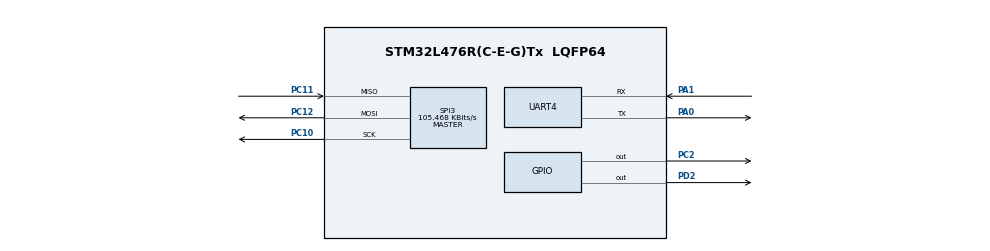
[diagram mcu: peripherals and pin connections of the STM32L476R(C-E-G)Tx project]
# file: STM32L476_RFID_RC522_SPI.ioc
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Mcu.Family=STM32L4
Mcu.Name=STM32L476R(C-E-G)Tx
Mcu.Package=LQFP64
NVIC.PriorityGroup=NVIC_PRIORITYGROUP_4
PA0.Mode=Asynchronous
PA0.Signal=UART4_TX
PA1.Mode=Asynchronous
PA1.Signal=UART4_RX
PC10.Mode=Full_Duplex_Master
PC10.Signal=SPI3_SCK
PC11.Mode=Full_Duplex_Master
PC11.Signal=SPI3_MISO
PC12.Mode=Full_Duplex_Master
PC12.Signal=SPI3_MOSI
PC14-OSC32_IN\ (PC14).Mode=LSE-External-Oscillator
PC14-OSC32_IN\ (PC14).Signal=RCC_OSC32_IN
PC15-OSC32_OUT\ (PC15).Mode=LSE-External-Oscillator
PC15-OSC32_OUT\ (PC15).Signal=RCC_OSC32_OUT
PC2.GPIO_Speed=GPIO_SPEED_FREQ_VERY_HIGH
PC2.PinState=GPIO_PIN_RESET
PC2.Signal=GPIO_Output
PD2.GPIO_Speed=GPIO_SPEED_FREQ_VERY_HIGH
PD2.PinState=GPIO_PIN_SET
PD2.Signal=GPIO_Output
ProjectManager.HeapSize=0x200
ProjectManager.StackSize=0x400
ProjectManager.TargetToolchain=MDK-ARM V5.32
RCC.ADCFreq_Value=32000000
RCC.AHBCLKDivider=RCC_SYSCLK_DIV2
RCC.AHBFreq_Value=27000000
RCC.APB1Freq_Value=27000000
RCC.APB1TimFreq_Value=27000000
RCC.APB2Freq_Value=27000000
RCC.APB2TimFreq_Value=27000000
RCC.CortexFreq_Value=27000000
RCC.HCLKFreq_Value=27000000
RCC.HSE_VALUE=8000000
RCC.HSI_VALUE=16000000
RCC.MSI_VALUE=4000000
RCC.PLLM=2
RCC.PLLN=27
RCC.PLLR=RCC_PLLR_DIV4
RCC.PLLSourceVirtual=RCC_PLLSOURCE_HSI
RCC.PREFETCH_ENABLE=1
RCC.SYSCLKFreq_VALUE=54000000
RCC.SYSCLKSource=RCC_SYSCLKSOURCE_PLLCLK
RCC.USBFreq_Value=32000000
RCC.VCOOutputFreq_Value=216000000
SPI3.BaudRatePrescaler=SPI_BAUDRATEPRESCALER_256
SPI3.CLKPhase=SPI_PHASE_1EDGE
SPI3.CLKPolarity=SPI_POLARITY_LOW
SPI3.CalculateBaudRate=105.468 KBits/s
SPI3.DataSize=SPI_DATASIZE_8BIT
SPI3.Direction=SPI_DIRECTION_2LINES
SPI3.Mode=SPI_MODE_MASTER
SPI3.VirtualType=VM_MASTER
board=NUCLEO-L476RG

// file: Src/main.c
/* USER CODE BEGIN Header */
/**
  ******************************************************************************
  * @file           : main.c
  * @brief          : Main program body
  ******************************************************************************
  * @attention
  *
  * Copyright (c) 2024 STMicroelectronics.
  * All rights reserved.
  *
  * This software is licensed under terms that can be found in the LICENSE file
  * in the root directory of this software component.
  * If no LICENSE file comes with this software, it is provided AS-IS.
  *
  ******************************************************************************
  */
/* USER CODE END Header */
#include "main.h"

/* USER CODE BEGIN Includes */
#include <stdio.h>
#include <string.h>
#include <stdarg.h>
#include "rc522.h"
/* USER CODE END Includes */

/* USER CODE BEGIN PV */
uint8_t status;
uint8_t str[MAX_LEN]; // Max_LEN = 16
uint8_t sNum[4];
uint8_t rx_data1, rx_data2, rx_data3, rx_data4, rx_data5;
uint8_t card;

uchar defaultKey[6] = {0xFF, 0xFF, 0xFF, 0xFF, 0xFF, 0xFF};
//uchar defaultKey[6] = {0xA1, 0xA2, 0xA3, 0xA4, 0xA5, 0xA6};
//uchar defaultKey[6] = {0xB1, 0xB2, 0xB3, 0xB4, 0xB5, 0xB6};
/*
uchar defaultKeys[7][6] = {
    {0xFF, 0xFF, 0xFF, 0xFF, 0xFF, 0xFF},
    {0xA0, 0xA1, 0xA2, 0xA3, 0xA4, 0xA5},
    {0xB0, 0xB1, 0xB2, 0xB3, 0xB4, 0xB5},
    {0x4D, 0x3A, 0x99, 0xC3, 0x51, 0xDD},
    {0x1A, 0x98, 0x2C, 0x7E, 0x45, 0x9A},
    {0xD3, 0xF7, 0xD3, 0xF7, 0xD3, 0xF7},
    {0xAA, 0xBB, 0xCC, 0xDD, 0xEE, 0xFF}
};*/
/*
uchar defaultKeys[14][6] =
{
	{0xFF, 0xFF, 0xFF, 0xFF, 0xFF, 0xFF},
    {0x00, 0x11, 0x22, 0x33, 0x44, 0x55},
    {0x00, 0x01, 0x02, 0x03, 0x04, 0x05},
    {0xA0, 0xA1, 0xA2, 0xA3, 0xA4, 0xA5},
    {0xB0, 0xB1, 0xB2, 0xB3, 0xB4, 0xB5},
    {0xAA, 0xAA, 0xAA, 0xAA, 0xAA, 0xAA},
    {0xBB, 0xBB, 0xBB, 0xBB, 0xBB, 0xBB},
    {0xAA, 0xBB, 0xCC, 0xDD, 0xEE, 0xFF},
    {0XD3, 0XF7, 0XD3, 0XF7, 0XD3, 0XF7},
    {0XB0, 0XB1, 0XB2, 0XB3, 0XB4, 0XB5},
    {0X4D, 0X3A, 0X99, 0XC3, 0X51, 0XDD},
    {0X1A, 0X98, 0X2C, 0X7E, 0X45, 0X9A},
    {0X00, 0X00, 0X00, 0X00, 0X00, 0X00},
    {0XAB, 0XCD, 0XEF, 0X12, 0X34, 0X56}
};*/
uchar dataToWrite1[16] = "59-T1-55555   "; // Chuoi 16 byte
uchar dataToWrite2[16] = "59-T2-66666   "; // Chuoi 16 byte
uchar readBuffer[16];
uchar blockAddr = 8;
/* USER CODE END PV */

void SystemClock_Config(void);
static void MX_GPIO_Init(void);
static void MX_SPI3_Init(void);
static void MX_UART4_Init(void);

int main(void)
{

  /* MCU Configuration--------------------------------------------------------*/

  /* Reset of all peripherals, Initializes the Flash interface and the Systick. */
  LL_APB2_GRP1_EnableClock(LL_APB2_GRP1_PERIPH_SYSCFG);
  LL_APB1_GRP1_EnableClock(LL_APB1_GRP1_PERIPH_PWR);

  /* System interrupt init*/
  NVIC_SetPriorityGrouping(NVIC_PRIORITYGROUP_4);

  /* Configure the system clock */
  SystemClock_Config();

  /* Initialize all configured peripherals */
  MX_GPIO_Init();
  MX_SPI3_Init();
  MX_UART4_Init();
  /* USER CODE BEGIN 2 */
	MFRC522_Init();
  /* USER CODE END 2 */

  /* Infinite loop */
  while (1)
  {
		LL_mDelay(1000);
		status = MFRC522_Request(PICC_REQIDL, str);
		if (status != MI_OK)
		{
			myprintf("MFRC522_Request failed");
      //while(1){}
    }
		LL_mDelay(1);
		status = MFRC522_Anticoll(str);
		if (status != MI_OK)
		{
			myprintf("MFRC522_Anticoll failed");
      //while(1){}
    }
		memcpy(sNum, str, 4);
		myprintf("SerialNumber: ");
    for (int i = 0; i < 4; i++)
		{
      myprintf("%02X ", sNum[i]); // UID
    }
    myprintf("\n");
		LL_mDelay(1);
		/*
		status = MFRC522_SelectTag(sNum);
    if (status != MI_OK)
		{
			myprintf("MFRC522_SelectTag failed");
      while(1){}
		}
		*/
		/*
		for (int attempt = 0; attempt < 3; attempt++)
		{
			status = MFRC522_SelectTag(str);
			if (status == MI_OK)
			{
        myprintf("MFRC522_SelectTag ok\n");
        break;
			}
			else if (attempt == 2)
			{
        myprintf("MFRC522_SelectTag not ok\n");
        //while(1){}
			}
		}
		LL_mDelay(1);
		status = MFRC522_Auth(PICC_AUTHENT1A, blockAddr, defaultKey, sNum);
		if (status == MI_OK)
		{
       myprintf("MFRC522_Auth ok\n");
		}
		else
		{
       myprintf("MFRC522_Auth not ok\n");
       while(1){}
		}

		LL_mDelay(1);
		status = MFRC522_Write(blockAddr, dataToWrite1);
		if (status == MI_OK)
		{
      myprintf("Write data to block %d\n", blockAddr);
    }
		else
		{
			myprintf("Failed to write data\n");
      MFRC522_Halt();
      while(1){}
		}
		LL_mDelay(1000);
		status = MFRC522_Read(blockAddr, readBuffer);
		if (status == MI_OK) {

    myprintf("Data from block %d: ", blockAddr);
    for (int i = 0; i < 16; i++) {
      myprintf("%c", readBuffer[i]);
    }
    myprintf("\n");

    } else {
      myprintf("Failed to read data\n");
			MFRC522_Halt();
      while(1){}
    }
    MFRC522_Halt();
    break;
		*/
		/*
		memcpy(sNum, str, 5);
		LL_mDelay(100);
		if((str[0]==113) && (str[1]==223) && (str[2]==49) && (str[3]==2) && (str[4]==157) )
    {
			card = 1;
			LL_mDelay(100);
    }
    else if((str[0]==115) && (str[1]==233) && (str[2]==59) && (str[3]==218) && (str[4]==123) )
    {
			card = 2;
      LL_mDelay(2000);
    }
    else
    {
      card = 3;
		}
		*/
  }
}

void SystemClock_Config(void)
{
  LL_FLASH_SetLatency(LL_FLASH_LATENCY_1);
  while(LL_FLASH_GetLatency()!= LL_FLASH_LATENCY_1)
  {
  }
  LL_PWR_SetRegulVoltageScaling(LL_PWR_REGU_VOLTAGE_SCALE1);
  while (LL_PWR_IsActiveFlag_VOS() != 0)
  {
  }
  LL_RCC_HSI_Enable();

   /* Wait till HSI is ready */
  while(LL_RCC_HSI_IsReady() != 1)
  {

  }
  LL_RCC_HSI_SetCalibTrimming(16);
  LL_RCC_PLL_ConfigDomain_SYS(LL_RCC_PLLSOURCE_HSI, LL_RCC_PLLM_DIV_2, 27, LL_RCC_PLLR_DIV_4);
  LL_RCC_PLL_EnableDomain_SYS();
  LL_RCC_PLL_Enable();

   /* Wait till PLL is ready */
  while(LL_RCC_PLL_IsReady() != 1)
  {

  }
  LL_RCC_SetSysClkSource(LL_RCC_SYS_CLKSOURCE_PLL);

   /* Wait till System clock is ready */
  while(LL_RCC_GetSysClkSource() != LL_RCC_SYS_CLKSOURCE_STATUS_PLL)
  {

  }
  LL_RCC_SetAHBPrescaler(LL_RCC_SYSCLK_DIV_2);
  LL_RCC_SetAPB1Prescaler(LL_RCC_APB1_DIV_1);
  LL_RCC_SetAPB2Prescaler(LL_RCC_APB2_DIV_1);

  LL_Init1msTick(27000000);

  LL_SetSystemCoreClock(27000000);
}

static void MX_SPI3_Init(void)
{

  LL_SPI_InitTypeDef SPI_InitStruct = {0};

  LL_GPIO_InitTypeDef GPIO_InitStruct = {0};

  /* Peripheral clock enable */
  LL_APB1_GRP1_EnableClock(LL_APB1_GRP1_PERIPH_SPI3);

  LL_AHB2_GRP1_EnableClock(LL_AHB2_GRP1_PERIPH_GPIOC);
  /**SPI3 GPIO Configuration
  PC10   ------> SPI3_SCK
  PC11   ------> SPI3_MISO
  PC12   ------> SPI3_MOSI
  */
  GPIO_InitStruct.Pin = LL_GPIO_PIN_10|LL_GPIO_PIN_11|LL_GPIO_PIN_12;
  GPIO_InitStruct.Mode = LL_GPIO_MODE_ALTERNATE;
  GPIO_InitStruct.Speed = LL_GPIO_SPEED_FREQ_VERY_HIGH;
  GPIO_InitStruct.OutputType = LL_GPIO_OUTPUT_PUSHPULL;
  GPIO_InitStruct.Pull = LL_GPIO_PULL_NO;
  GPIO_InitStruct.Alternate = LL_GPIO_AF_6;
  LL_GPIO_Init(GPIOC, &GPIO_InitStruct);

  /* SPI3 parameter configuration*/
  SPI_InitStruct.TransferDirection = LL_SPI_FULL_DUPLEX;
  SPI_InitStruct.Mode = LL_SPI_MODE_MASTER;
  SPI_InitStruct.DataWidth = LL_SPI_DATAWIDTH_8BIT;
  SPI_InitStruct.ClockPolarity = LL_SPI_POLARITY_LOW;
  SPI_InitStruct.ClockPhase = LL_SPI_PHASE_1EDGE;
  SPI_InitStruct.NSS = LL_SPI_NSS_SOFT;
  SPI_InitStruct.BaudRate = LL_SPI_BAUDRATEPRESCALER_DIV256;
  SPI_InitStruct.BitOrder = LL_SPI_MSB_FIRST;
  SPI_InitStruct.CRCCalculation = LL_SPI_CRCCALCULATION_DISABLE;
  SPI_InitStruct.CRCPoly = 7;
  LL_SPI_Init(SPI3, &SPI_InitStruct);
  LL_SPI_SetStandard(SPI3, LL_SPI_PROTOCOL_MOTOROLA);
  LL_SPI_EnableNSSPulseMgt(SPI3);
  /* USER CODE BEGIN SPI3_Init 2 */
	LL_SPI_Enable(SPI3);
  /* USER CODE END SPI3_Init 2 */

}

static void MX_UART4_Init(void)
{

  LL_USART_InitTypeDef UART_InitStruct = {0};

  LL_GPIO_InitTypeDef GPIO_InitStruct = {0};

  LL_RCC_SetUARTClockSource(LL_RCC_UART4_CLKSOURCE_PCLK1);

  /* Peripheral clock enable */
  LL_APB1_GRP1_EnableClock(LL_APB1_GRP1_PERIPH_UART4);

  LL_AHB2_GRP1_EnableClock(LL_AHB2_GRP1_PERIPH_GPIOA);
  /**UART4 GPIO Configuration
  PA0   ------> UART4_TX
  PA1   ------> UART4_RX
  */
  GPIO_InitStruct.Pin = LL_GPIO_PIN_0|LL_GPIO_PIN_1;
  GPIO_InitStruct.Mode = LL_GPIO_MODE_ALTERNATE;
  GPIO_InitStruct.Speed = LL_GPIO_SPEED_FREQ_VERY_HIGH;
  GPIO_InitStruct.OutputType = LL_GPIO_OUTPUT_PUSHPULL;
  GPIO_InitStruct.Pull = LL_GPIO_PULL_NO;
  GPIO_InitStruct.Alternate = LL_GPIO_AF_8;
  LL_GPIO_Init(GPIOA, &GPIO_InitStruct);

  UART_InitStruct.BaudRate = 115200;
  UART_InitStruct.DataWidth = LL_USART_DATAWIDTH_8B;
  UART_InitStruct.StopBits = LL_USART_STOPBITS_1;
  UART_InitStruct.Parity = LL_USART_PARITY_NONE;
  UART_InitStruct.TransferDirection = LL_USART_DIRECTION_TX_RX;
  UART_InitStruct.HardwareFlowControl = LL_USART_HWCONTROL_NONE;
  UART_InitStruct.OverSampling = LL_USART_OVERSAMPLING_16;
  LL_USART_Init(UART4, &UART_InitStruct);
  LL_USART_ConfigAsyncMode(UART4);
  LL_USART_Enable(UART4);

}

static void MX_GPIO_Init(void)
{
  LL_GPIO_InitTypeDef GPIO_InitStruct = {0};

  /* GPIO Ports Clock Enable */
  LL_AHB2_GRP1_EnableClock(LL_AHB2_GRP1_PERIPH_GPIOC);
  LL_AHB2_GRP1_EnableClock(LL_AHB2_GRP1_PERIPH_GPIOA);
  LL_AHB2_GRP1_EnableClock(LL_AHB2_GRP1_PERIPH_GPIOD);

  /**/
  LL_GPIO_ResetOutputPin(GPIOC, LL_GPIO_PIN_2);

  /**/
  LL_GPIO_SetOutputPin(GPIOD, LL_GPIO_PIN_2);

  /**/
  GPIO_InitStruct.Pin = LL_GPIO_PIN_2;
  GPIO_InitStruct.Mode = LL_GPIO_MODE_OUTPUT;
  GPIO_InitStruct.Speed = LL_GPIO_SPEED_FREQ_VERY_HIGH;
  GPIO_InitStruct.OutputType = LL_GPIO_OUTPUT_PUSHPULL;
  GPIO_InitStruct.Pull = LL_GPIO_PULL_NO;
  LL_GPIO_Init(GPIOC, &GPIO_InitStruct);

  /**/
  GPIO_InitStruct.Pin = LL_GPIO_PIN_2;
  GPIO_InitStruct.Mode = LL_GPIO_MODE_OUTPUT;
  GPIO_InitStruct.Speed = LL_GPIO_SPEED_FREQ_VERY_HIGH;
  GPIO_InitStruct.OutputType = LL_GPIO_OUTPUT_PUSHPULL;
  GPIO_InitStruct.Pull = LL_GPIO_PULL_NO;
  LL_GPIO_Init(GPIOD, &GPIO_InitStruct);

}

/* USER CODE BEGIN 4 */

/* Gui 1 byte du lieu tu Master cho Slave */
void SPI3_TransmitByte(uint8_t data)
{
    // Doi cho den khi TX buffer trong (TXE flag duoc set)
    while (!LL_SPI_IsActiveFlag_TXE(SPI3));

    // Gui 1 byte du lieu
    LL_SPI_TransmitData8(SPI3, data);

    // Doi cho den khi byte duoc truyen xong (BSY flag duoc reset)
    while (LL_SPI_IsActiveFlag_BSY(SPI3));
}

uint8_t SPI3_ReceiveByte(void)
{
    uint8_t receivedDataTemp = 0x00u;

		//LL_GPIO_ResetOutputPin(GPIOA, LL_GPIO_PIN_4);
    // Doi cho den khi co du lieu nhan duoc (RXNE flag duoc set)
    while (!LL_SPI_IsActiveFlag_RXNE(SPI3));

    // Doc du lieu nhan duoc tu SPI
    receivedDataTemp = LL_SPI_ReceiveData8(SPI3);

		while (LL_SPI_IsActiveFlag_BSY(SPI3));
		//LL_GPIO_SetOutputPin(GPIOA, LL_GPIO_PIN_4);
		return receivedDataTemp;
}

uint8_t LL_SPI_TransmitReceive(SPI_TypeDef *SPIx, uint8_t pTxData)
{
    while (!LL_SPI_IsActiveFlag_TXE(SPIx))
    {}
    LL_SPI_TransmitData8(SPIx, pTxData);

    while (!LL_SPI_IsActiveFlag_RXNE(SPIx))
    {}

    return LL_SPI_ReceiveData8(SPIx);
}

// Send 1 byte through UART
void UART_SendChar(uint8_t ch)
{
    while (!LL_USART_IsActiveFlag_TXE(UART4));
    LL_USART_TransmitData8(UART4, ch);
    while (!LL_USART_IsActiveFlag_TC(UART4));
}

// Receive 1 byte from UART
uint8_t UART_ReceiveChar(void)
{
    while (!LL_USART_IsActiveFlag_RXNE(UART4));
    return LL_USART_ReceiveData8(UART4);
}

// Send a string through UART
void UART_SendString(char *str)
{
    while (*str) {
        UART_SendChar(*str++);
    }
}

// Receive a string from UART (stop when see character '\n')
void UART_ReceiveString(char *buffer, uint8_t maxLength)
{
    uint8_t index = 0;
    char receivedChar;

    do {
        receivedChar = UART_ReceiveChar();
        buffer[index++] = receivedChar;
    } while (receivedChar != '\n' && index < maxLength - 1);

    buffer[index] = '\0';
}

void myprintf(const char *fmt, ...)
{
  static char buffer[256];
  va_list args;
  va_start(args, fmt);
  vsnprintf(buffer, sizeof(buffer), fmt, args);
  va_end(args);

  int len = strlen(buffer);
  //HAL_UART_Transmit(&huart2, (uint8_t*)buffer, len, -1);
	UART_SendString((char *)buffer);
}
/* USER CODE END 4 */

void Error_Handler(void)
{
  __disable_irq();
  while (1)
  {
  }
}
